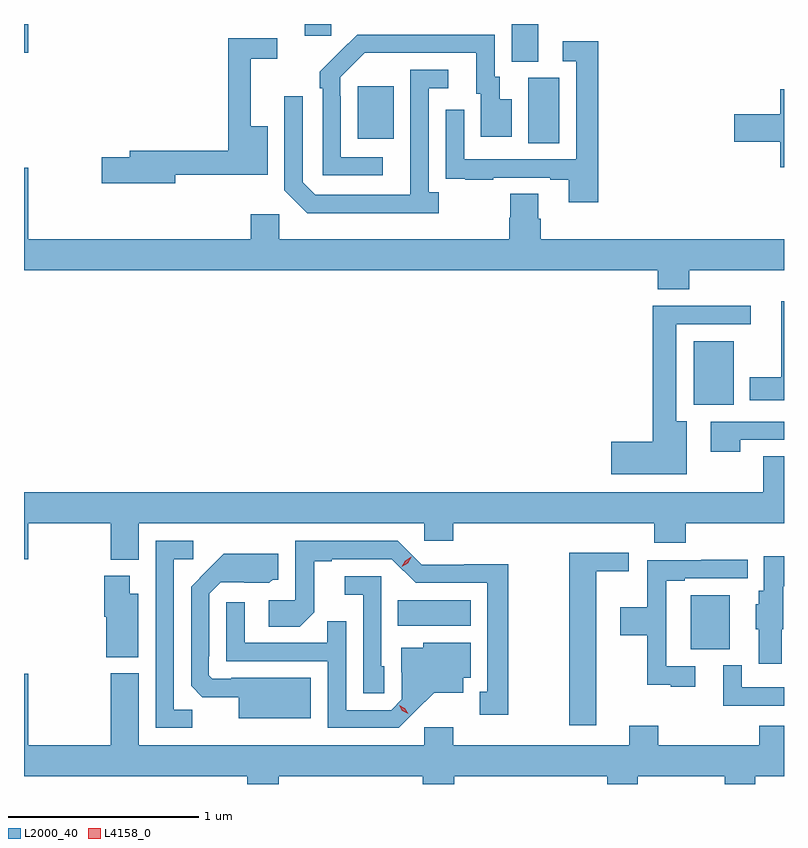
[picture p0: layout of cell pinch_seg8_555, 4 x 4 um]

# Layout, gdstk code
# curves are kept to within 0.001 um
import gdstk
lib = gdstk.Library(unit=1e-6, precision=1e-09)
def R(c, l, rs):  # rectangles x0, y0, x1, y1
    for r in rs: c.add(gdstk.rectangle(r[:2], r[2:], *l))
def P(c, l, *ps):  # polygons
    for p in ps: c.add(gdstk.Polygon(p, *l))
L2000_40 = (2000, 40)
L4158_0 = (4158, 0)

pinch_seg8_555 = lib.new_cell('pinch_seg8_555')
R(pinch_seg8_555, L2000_40, [(168.659,1114.505,168.865,1114.789), (167.116,1114.628,167.5,1114.762), (168.674,1115.792,168.886,1116.127), (167.804,1117.168,167.968,1117.512), (166.907,1117.193,167.095,1117.468), (167.717,1117.597,167.857,1117.796), (165.15,1117.644,165.172,1117.796), (166.628,1117.734,166.767,1117.796)])
P(pinch_seg8_555, L2000_40, [(167.038,1117.095),(166.818,1117.095),(166.818,1117.415),(166.815,1117.415),(166.815,1117.515),(166.944,1117.644),(167.531,1117.644),(167.531,1117.428),(167.555,1117.428),(167.555,1117.203),(167.716,1117.203),(167.716,1117.399),(167.653,1117.399),(167.653,1117.518),(167.628,1117.518),(167.628,1117.74),(166.904,1117.74),(166.707,1117.545),(166.707,1117.457),(166.722,1117.457),(166.722,1116.999),(167.038,1116.999)],
  [(165.946,1117.002),(166.432,1117.002),(166.432,1117.258),(166.343,1117.258),(166.343,1117.614),(166.483,1117.614),(166.483,1117.722),(166.225,1117.722),(166.225,1117.13),(165.707,1117.13),(165.707,1117.094),(165.558,1117.094),(165.558,1116.959),(165.946,1116.959)],
  [(168.173,1117.705),(167.985,1117.705),(167.985,1117.599),(168.057,1117.599),(168.057,1117.083),(167.466,1117.083),(167.466,1117.345),(167.37,1117.345),(167.37,1117.09),(167.371,1117.09),(167.371,1116.981),(167.473,1116.981),(167.473,1116.975),(167.621,1116.975),(167.621,1116.987),(167.921,1116.987),(167.921,1116.975),(168.017,1116.975),(168.017,1116.858),(168.173,1116.858)],
  [(167.332,1116.91),(167.28,1116.91),(167.28,1117.458),(167.383,1117.458),(167.383,1117.554),(167.184,1117.554),(167.183,1116.897),(166.683,1116.897),(166.617,1116.963),(166.617,1117.417),(166.521,1117.417),(166.521,1116.921),(166.642,1116.8),(167.332,1116.8)],
  [(169.15,1117.453),(169.13,1117.453),(169.13,1117.322),(168.888,1117.322),(168.888,1117.175),(169.13,1117.175),(169.13,1117.043),(169.15,1117.043)],
  [(168.65,1116.5),(169.15,1116.5),(169.15,1116.664),(167.87,1116.664),(167.87,1116.77),(167.857,1116.77),(167.857,1116.902),(167.71,1116.902),(167.71,1116.777),(167.705,1116.777),(167.705,1116.664),(166.494,1116.664),(166.494,1116.796),(166.343,1116.796),(166.343,1116.664),(165.172,1116.664),(165.172,1117.039),(165.15,1117.039),(165.15,1116.5),(168.485,1116.5),(168.485,1116.401),(168.65,1116.401)],
  [(169.15,1116.337),(169.136,1116.337),(169.136,1115.938),(168.971,1115.938),(168.971,1115.816),(169.15,1115.816)],
  [(168.637,1115.704),(168.583,1115.704),(168.583,1116.216),(168.976,1116.216),(168.976,1116.314),(168.458,1116.314),(168.458,1115.597),(168.24,1115.597),(168.24,1115.426),(168.637,1115.426)],
  [(168.921,1115.607),(169.15,1115.607),(169.15,1115.703),(168.765,1115.703),(168.765,1115.544),(168.921,1115.544)],
  [(165.754,1115.168),(167.256,1115.168),(167.256,1115.075),(167.408,1115.075),(167.408,1115.168),(168.467,1115.168),(168.467,1115.066),(168.632,1115.066),(168.632,1115.168),(169.15,1115.168),(169.15,1115.522),(169.042,1115.522),(169.042,1115.332),(165.15,1115.332),(165.15,1114.98),(165.172,1114.98),(165.172,1115.168),(165.607,1115.168),(165.607,1114.976),(165.754,1114.976)],
  [(167.699,1114.952),(167.466,1114.952),(167.466,1114.95),(167.244,1114.95),(167.118,1115.076),(166.578,1115.076),(166.578,1114.764),(166.437,1114.764),(166.437,1114.624),(166.601,1114.624),(166.677,1114.7),(166.677,1114.968),(166.771,1114.968),(166.771,1114.98),(167.085,1114.98),(167.211,1114.854),(167.588,1114.854),(167.588,1114.281),(167.549,1114.281),(167.549,1114.161),(167.699,1114.161)],
  [(166.035,1114.187),(165.939,1114.187),(165.939,1114.98),(166.042,1114.98),(166.042,1115.076),(165.843,1115.076),(165.843,1114.092),(166.035,1114.092)],
  [(168.163,1114.916),(168.334,1114.916),(168.334,1115.014),(168.019,1115.014),(168.019,1114.104),(168.163,1114.104)],
  [(166.66,1114.354),(166.24,1114.354),(166.24,1114.35),(166.14,1114.35),(166.122,1114.368),(166.122,1114.468),(166.125,1114.468),(166.125,1114.797),(166.185,1114.857),(166.442,1114.856),(166.458,1114.872),(166.489,1114.872),(166.489,1115.008),(166.201,1115.008),(166.029,1114.834),(166.029,1114.312),(166.088,1114.253),(166.28,1114.253),(166.28,1114.142),(166.66,1114.142)],
  [(169.138,1114.611),(169.147,1114.611),(169.147,1114.838),(169.15,1114.838),(169.15,1114.996),(169.043,1114.996),(169.043,1114.812),(169.016,1114.812),(169.016,1114.743),(169.001,1114.743),(169.001,1114.611),(169.016,1114.611),(169.016,1114.428),(169.138,1114.428)],
  [(168.682,1114.416),(168.531,1114.416),(168.531,1114.866),(168.628,1114.866),(168.628,1114.878),(168.958,1114.878),(168.958,1114.976),(168.715,1114.976),(168.715,1114.974),(168.43,1114.974),(168.43,1114.726),(168.288,1114.726),(168.288,1114.579),(168.43,1114.579),(168.43,1114.319),(168.554,1114.319),(168.554,1114.308),(168.682,1114.308)],
  [(165.751,1114.798),(165.706,1114.798),(165.706,1114.891),(165.572,1114.891),(165.572,1114.677),(165.584,1114.677),(165.584,1114.463),(165.751,1114.463)],
  [(167.046,1114.416),(167.031,1114.416),(167.031,1114.89),(166.839,1114.89),(166.839,1114.793),(166.935,1114.793),(166.935,1114.273),(167.046,1114.273)],
  [(167.206,1114.175),(167.309,1114.277),(167.461,1114.277),(167.461,1114.356),(167.5,1114.356),(167.5,1114.54),(167.25,1114.54),(167.25,1114.513),(167.135,1114.513),(167.135,1114.384),(167.139,1114.384),(167.139,1114.242),(167.082,1114.185),(166.845,1114.185),(166.845,1114.652),(166.747,1114.652),(166.747,1114.539),(166.311,1114.539),(166.311,1114.753),(166.215,1114.753),(166.215,1114.443),(166.749,1114.443),(166.749,1114.092),(167.122,1114.092)],
  [(169.15,1114.305),(168.927,1114.305),(168.927,1114.42),(168.83,1114.42),(168.83,1114.209),(169.15,1114.209)],
  [(167.408,1114.096),(167.256,1114.096),(167.256,1114),(165.754,1114),(165.754,1114.378),(165.607,1114.378),(165.607,1114),(165.172,1114),(165.172,1114.375),(165.15,1114.375),(165.15,1113.836),(166.325,1113.836),(166.325,1113.796),(166.49,1113.796),(166.49,1113.836),(167.249,1113.836),(167.249,1113.796),(167.414,1113.796),(167.414,1113.836),(168.221,1113.836),(168.221,1113.796),(168.381,1113.796),(168.381,1113.836),(168.838,1113.836),(168.838,1113.796),(168.998,1113.796),(168.998,1113.836),(169.15,1113.836),(169.15,1114.102),(169.019,1114.102),(169.019,1114),(168.488,1114),(168.488,1114.102),(168.335,1114.102),(168.335,1114),(167.408,1114)])
P(pinch_seg8_555, L4158_0, [(167.139,1114.94),(167.139,1114.94),(167.156,1114.972),(167.188,1114.991),(167.189,1114.991),(167.189,1114.99),(167.171,1114.958),(167.139,1114.94)],
  [(167.172,1114.166),(167.142,1114.181),(167.124,1114.21),(167.124,1114.211),(167.124,1114.211),(167.155,1114.196),(167.173,1114.166),(167.173,1114.166)])

lib.write_gds('pinch_seg8_555.gds')
